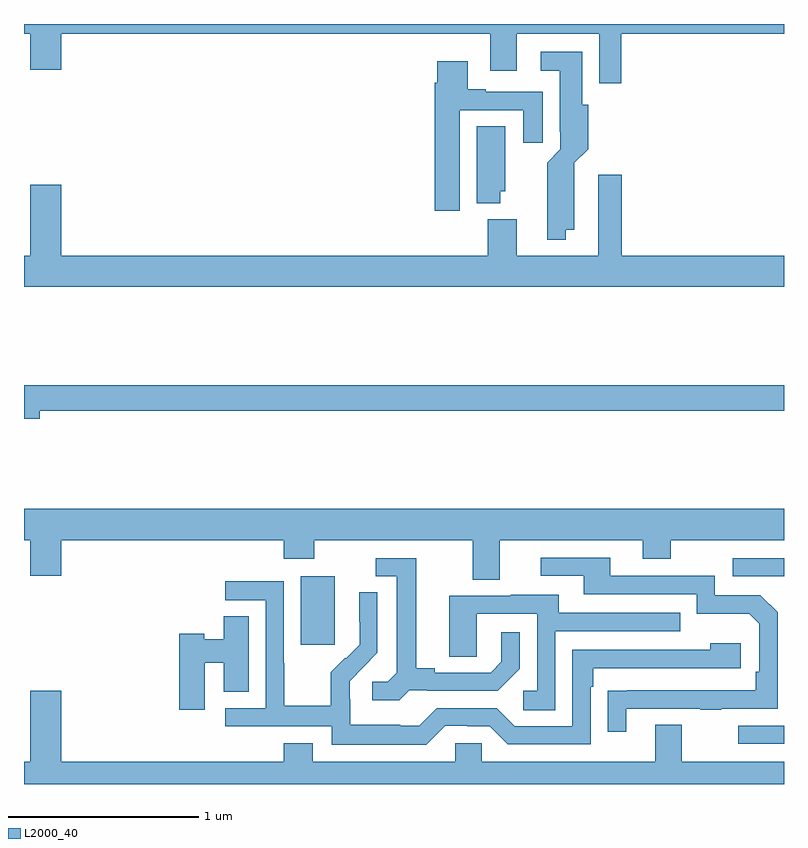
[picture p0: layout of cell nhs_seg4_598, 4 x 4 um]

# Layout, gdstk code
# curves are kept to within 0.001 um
import gdstk
lib = gdstk.Library(unit=1e-6, precision=1e-09)
def R(c, l, rs):  # rectangles x0, y0, x1, y1
    for r in rs: c.add(gdstk.rectangle(r[:2], r[2:], *l))
def P(c, l, *ps):  # polygons
    for p in ps: c.add(gdstk.Polygon(p, *l))
L2000_40 = (2000, 40)

nhs_seg4_598 = lib.new_cell('nhs_seg4_598')
R(nhs_seg4_598, L2000_40, [(144.759,765.111,145,765.207), (142.457,765.633,142.636,765.994), (144.729,765.993,145,766.089)])
P(nhs_seg4_598, L2000_40, [(141,768.848),(141.032,768.848),(141.032,768.66),(141.196,768.66),(141.196,768.848),(143.453,768.848),(143.453,768.654),(143.593,768.654),(143.593,768.848),(144.027,768.848),(144.027,768.588),(144.143,768.588),(144.143,768.848),(145,768.848),(145,768.9),(141,768.9)],
  [(143.851,767.816),(143.896,767.816),(143.897,768.17),(143.969,768.242),(143.969,768.474),(143.938,768.474),(143.938,768.754),(143.721,768.754),(143.721,768.653),(143.819,768.653),(143.819,768.334),(143.823,768.334),(143.823,768.24),(143.753,768.17),(143.754,767.765),(143.851,767.765)],
  [(143.293,768.447),(143.627,768.447),(143.627,768.276),(143.731,768.276),(143.731,768.543),(143.431,768.543),(143.431,768.556),(143.335,768.556),(143.335,768.703),(143.174,768.703),(143.174,768.59),(143.162,768.59),(143.162,767.916),(143.293,767.916)],
  [(143.506,768.021),(143.533,768.021),(143.533,768.362),(143.384,768.362),(143.384,767.957),(143.506,767.957)],
  [(145,767.68),(144.146,767.68),(144.146,768.106),(144.023,768.106),(144.023,767.68),(143.593,767.68),(143.593,767.872),(143.441,767.872),(143.441,767.68),(141.196,767.68),(141.196,768.055),(141.032,768.055),(141.032,767.68),(141,767.68),(141,767.516),(145,767.516)],
  [(141.082,766.864),(145,766.864),(145,767),(141,767),(141,766.822),(141.082,766.822)],
  [(143.503,766.184),(144.257,766.184),(144.257,766.085),(144.405,766.085),(144.405,766.184),(145,766.184),(145,766.348),(141,766.348),(141,766.184),(141.032,766.184),(141.032,765.996),(141.196,765.996),(141.196,766.184),(142.367,766.184),(142.367,766.085),(142.527,766.085),(142.527,766.184),(143.363,766.184),(143.363,765.976),(143.503,765.976)],
  [(144.169,765.297),(144.559,765.297),(144.559,765.292),(144.671,765.292),(144.671,765.297),(144.966,765.297),(144.966,765.804),(144.876,765.894),(144.636,765.894),(144.636,765.996),(144.085,765.996),(144.085,766.092),(143.721,766.092),(143.721,765.996),(143.945,765.996),(143.945,765.9),(144.54,765.9),(144.54,765.797),(144.817,765.797),(144.87,765.744),(144.87,765.49),(144.85,765.49),(144.85,765.393),(144.073,765.392),(144.073,765.174),(144.169,765.174)],
  [(143.028,765.393),(143.122,765.393),(143.122,765.39),(143.494,765.39),(143.61,765.506),(143.61,765.7),(143.513,765.7),(143.513,765.543),(143.456,765.486),(143.161,765.486),(143.161,765.509),(143.065,765.509),(143.065,766.089),(142.851,766.089),(142.851,765.993),(142.961,765.993),(142.961,765.485),(142.914,765.438),(142.833,765.438),(142.833,765.341),(142.976,765.341)],
  [(143.217,765.207),(143.333,765.207),(143.333,765.204),(143.451,765.204),(143.547,765.108),(143.982,765.108),(143.982,765.413),(143.995,765.413),(143.995,765.51),(144.772,765.51),(144.772,765.64),(144.611,765.64),(144.611,765.606),(143.886,765.606),(143.886,765.204),(143.583,765.204),(143.487,765.3),(143.172,765.3),(143.079,765.207),(142.979,765.207),(142.979,765.211),(142.716,765.211),(142.716,765.345),(142.714,765.345),(142.714,765.442),(142.86,765.59),(142.86,765.908),(142.764,765.908),(142.764,765.754),(142.766,765.754),(142.766,765.632),(142.695,765.561),(142.692,765.564),(142.615,765.487),(142.615,765.313),(142.371,765.313),(142.371,765.536),(142.368,765.536),(142.368,765.966),(142.059,765.966),(142.059,765.867),(142.272,765.867),(142.272,765.3),(142.059,765.3),(142.059,765.204),(142.62,765.204),(142.62,765.107),(143.117,765.107)],
  [(143.796,765.705),(144.455,765.705),(144.455,765.801),(143.815,765.801),(143.815,765.895),(143.561,765.895),(143.561,765.891),(143.237,765.891),(143.237,765.571),(143.382,765.571),(143.382,765.795),(143.7,765.795),(143.7,765.39),(143.628,765.39),(143.628,765.289),(143.796,765.289)],
  [(141.952,765.539),(142.052,765.539),(142.052,765.385),(142.183,765.385),(142.183,765.782),(142.052,765.782),(142.052,765.661),(141.948,765.661),(141.948,765.692),(141.818,765.692),(141.818,765.291),(141.952,765.291)],
  [(145,765.016),(144.463,765.016),(144.463,765.211),(144.323,765.211),(144.323,765.016),(143.409,765.016),(143.409,765.114),(143.271,765.114),(143.271,765.016),(142.519,765.016),(142.519,765.115),(142.367,765.115),(142.367,765.016),(141.196,765.016),(141.196,765.391),(141.032,765.391),(141.032,765.016),(141,765.016),(141,764.9),(145,764.9)])

lib.write_gds('nhs_seg4_598.gds')
